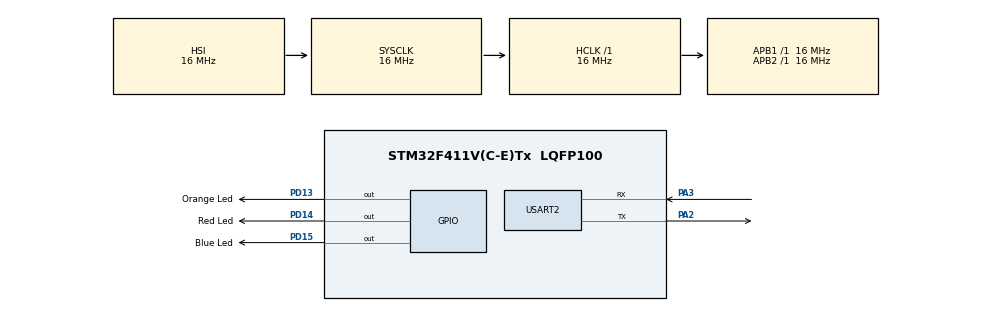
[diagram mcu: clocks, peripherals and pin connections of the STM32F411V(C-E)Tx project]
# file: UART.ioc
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Dma.Request0=USART2_RX
Dma.Request1=USART2_TX
Dma.USART2_RX.0.Direction=DMA_PERIPH_TO_MEMORY
Dma.USART2_RX.0.FIFOMode=DMA_FIFOMODE_DISABLE
Dma.USART2_RX.0.Instance=DMA1_Stream5
Dma.USART2_RX.0.MemDataAlignment=DMA_MDATAALIGN_BYTE
Dma.USART2_RX.0.MemInc=DMA_MINC_ENABLE
Dma.USART2_RX.0.Mode=DMA_NORMAL
Dma.USART2_RX.0.PeriphDataAlignment=DMA_PDATAALIGN_BYTE
Dma.USART2_RX.0.PeriphInc=DMA_PINC_DISABLE
Dma.USART2_RX.0.Priority=DMA_PRIORITY_LOW
Dma.USART2_TX.1.Direction=DMA_MEMORY_TO_PERIPH
Dma.USART2_TX.1.FIFOMode=DMA_FIFOMODE_DISABLE
Dma.USART2_TX.1.Instance=DMA1_Stream6
Dma.USART2_TX.1.MemDataAlignment=DMA_MDATAALIGN_BYTE
Dma.USART2_TX.1.MemInc=DMA_MINC_ENABLE
Dma.USART2_TX.1.Mode=DMA_NORMAL
Dma.USART2_TX.1.PeriphDataAlignment=DMA_PDATAALIGN_BYTE
Dma.USART2_TX.1.PeriphInc=DMA_PINC_DISABLE
Dma.USART2_TX.1.Priority=DMA_PRIORITY_LOW
Mcu.Family=STM32F4
Mcu.Name=STM32F411V(C-E)Tx
Mcu.Package=LQFP100
NVIC.DMA1_Stream5_IRQn=true\:0\:0\:false\:false\:true\:false
NVIC.DMA1_Stream6_IRQn=true\:0\:0\:false\:false\:true\:false
NVIC.PriorityGroup=NVIC_PRIORITYGROUP_4
NVIC.USART2_IRQn=true\:0\:0\:false\:false\:true\:true
PA2.Mode=Asynchronous
PA2.Signal=USART2_TX
PA3.Mode=Asynchronous
PA3.Signal=USART2_RX
PD13.GPIO_Label=Orange Led
PD13.GPIO_Speed=GPIO_SPEED_FREQ_VERY_HIGH
PD13.Signal=GPIO_Output
PD14.GPIO_Label=Red Led
PD14.GPIO_Speed=GPIO_SPEED_FREQ_VERY_HIGH
PD14.Signal=GPIO_Output
PD15.GPIO_Label=Blue Led
PD15.GPIO_Speed=GPIO_SPEED_FREQ_VERY_HIGH
PD15.Signal=GPIO_Output
ProjectManager.HeapSize=0x200
ProjectManager.StackSize=0x400
ProjectManager.TargetToolchain=MDK-ARM V5
RCC.AHBFreq_Value=16000000
RCC.APB1Freq_Value=16000000
RCC.APB2Freq_Value=16000000
RCC.CortexFreq_Value=16000000
RCC.HSE_VALUE=25000000
RCC.HSI_VALUE=16000000
RCC.LSE_VALUE=32768
RCC.SYSCLKFreq_VALUE=16000000
RCC.VCOOutputFreq_Value=192000000
USART2.VirtualMode=VM_ASYNC
board=custom

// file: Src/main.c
/**
  ******************************************************************************
  * @file           : main.c
  * @brief          : Main program body
  ******************************************************************************
  ** This notice applies to any and all portions of this file
  * that are not between comment pairs USER CODE BEGIN and
  * USER CODE END. Other portions of this file, whether
  * inserted by the user or by software development tools
  * are owned by their respective copyright owners.
  *
  * COPYRIGHT(c) 2018 STMicroelectronics
  *
  * Redistribution and use in source and binary forms, with or without modification,
  * are permitted provided that the following conditions are met:
  *   1. Redistributions of source code must retain the above copyright notice,
  *      this list of conditions and the following disclaimer.
  *   2. Redistributions in binary form must reproduce the above copyright notice,
  *      this list of conditions and the following disclaimer in the documentation
  *      and/or other materials provided with the distribution.
  *   3. Neither the name of STMicroelectronics nor the names of its contributors
  *      may be used to endorse or promote products derived from this software
  *      without specific prior written permission.
  *
  * THIS SOFTWARE IS PROVIDED BY THE COPYRIGHT HOLDERS AND CONTRIBUTORS "AS IS"
  * AND ANY EXPRESS OR IMPLIED WARRANTIES, INCLUDING, BUT NOT LIMITED TO, THE
  * IMPLIED WARRANTIES OF MERCHANTABILITY AND FITNESS FOR A PARTICULAR PURPOSE ARE
  * DISCLAIMED. IN NO EVENT SHALL THE COPYRIGHT HOLDER OR CONTRIBUTORS BE LIABLE
  * FOR ANY DIRECT, INDIRECT, INCIDENTAL, SPECIAL, EXEMPLARY, OR CONSEQUENTIAL
  * DAMAGES (INCLUDING, BUT NOT LIMITED TO, PROCUREMENT OF SUBSTITUTE GOODS OR
  * SERVICES; LOSS OF USE, DATA, OR PROFITS; OR BUSINESS INTERRUPTION) HOWEVER
  * CAUSED AND ON ANY THEORY OF LIABILITY, WHETHER IN CONTRACT, STRICT LIABILITY,
  * OR TORT (INCLUDING NEGLIGENCE OR OTHERWISE) ARISING IN ANY WAY OUT OF THE USE
  * OF THIS SOFTWARE, EVEN IF ADVISED OF THE POSSIBILITY OF SUCH DAMAGE.
  *
  ******************************************************************************
  */
#include "main.h"
#include "stm32f4xx_hal.h"

/* USER CODE BEGIN Includes */
#include <string.h>
/* USER CODE END Includes */

UART_HandleTypeDef huart2;
DMA_HandleTypeDef hdma_usart2_rx;
DMA_HandleTypeDef hdma_usart2_tx;

/* USER CODE BEGIN PV */
/* Private variables ---------------------------------------------------------*/
#define BUFFERSIZE	128
uint8_t Txbuffer[BUFFERSIZE];
uint8_t Rxbuffer[BUFFERSIZE];

uint8_t RxData[2], RxIndx, TxCplt;
/* USER CODE END PV */

void SystemClock_Config(void);
static void MX_GPIO_Init(void);
static void MX_DMA_Init(void);
static void MX_USART2_UART_Init(void);

/* USER CODE BEGIN PFP */
/* Private function prototypes -----------------------------------------------*/

/* USER CODE END PFP */

int main(void)
{

  /* MCU Configuration----------------------------------------------------------*/

  /* Reset of all peripherals, Initializes the Flash interface and the Systick. */
  HAL_Init();

  /* Configure the system clock */
  SystemClock_Config();

  /* Initialize all configured peripherals */
  MX_GPIO_Init();
  MX_DMA_Init();
  MX_USART2_UART_Init();
  /* USER CODE BEGIN 2 */
	if(HAL_UART_Receive_DMA(&huart2, RxData, 1) != HAL_OK)
	{
		Error_Handler();
	}
  /* USER CODE END 2 */

  /* Infinite loop */
  while (1)
  {

  /* USER CODE BEGIN 3 */
		if(TxCplt)
		{
			sprintf((char *)Txbuffer,"%s\r\n",Rxbuffer);
			if(HAL_UART_Transmit_DMA(&huart2, Txbuffer, strlen((const char *)Txbuffer)) != HAL_OK)
			{
				Error_Handler();
			}
			TxCplt = 0;
			HAL_Delay(1000);
		}
  /* USER CODE END 3 */
	}
}

void SystemClock_Config(void)
{

  RCC_OscInitTypeDef RCC_OscInitStruct;
  RCC_ClkInitTypeDef RCC_ClkInitStruct;

    /**Configure the main internal regulator output voltage
    */
  __HAL_RCC_PWR_CLK_ENABLE();

  __HAL_PWR_VOLTAGESCALING_CONFIG(PWR_REGULATOR_VOLTAGE_SCALE1);

    /**Initializes the CPU, AHB and APB busses clocks
    */
  RCC_OscInitStruct.OscillatorType = RCC_OSCILLATORTYPE_HSI;
  RCC_OscInitStruct.HSIState = RCC_HSI_ON;
  RCC_OscInitStruct.HSICalibrationValue = 16;
  RCC_OscInitStruct.PLL.PLLState = RCC_PLL_NONE;
  if (HAL_RCC_OscConfig(&RCC_OscInitStruct) != HAL_OK)
  {
    _Error_Handler(__FILE__, __LINE__);
  }

    /**Initializes the CPU, AHB and APB busses clocks
    */
  RCC_ClkInitStruct.ClockType = RCC_CLOCKTYPE_HCLK|RCC_CLOCKTYPE_SYSCLK
                              |RCC_CLOCKTYPE_PCLK1|RCC_CLOCKTYPE_PCLK2;
  RCC_ClkInitStruct.SYSCLKSource = RCC_SYSCLKSOURCE_HSI;
  RCC_ClkInitStruct.AHBCLKDivider = RCC_SYSCLK_DIV1;
  RCC_ClkInitStruct.APB1CLKDivider = RCC_HCLK_DIV1;
  RCC_ClkInitStruct.APB2CLKDivider = RCC_HCLK_DIV1;

  if (HAL_RCC_ClockConfig(&RCC_ClkInitStruct, FLASH_LATENCY_0) != HAL_OK)
  {
    _Error_Handler(__FILE__, __LINE__);
  }

    /**Configure the Systick interrupt time
    */
  HAL_SYSTICK_Config(HAL_RCC_GetHCLKFreq()/1000);

    /**Configure the Systick
    */
  HAL_SYSTICK_CLKSourceConfig(SYSTICK_CLKSOURCE_HCLK);

  /* SysTick_IRQn interrupt configuration */
  HAL_NVIC_SetPriority(SysTick_IRQn, 0, 0);
}

/* USART2 init function */
static void MX_USART2_UART_Init(void)
{

  huart2.Instance = USART2;
  huart2.Init.BaudRate = 115200;
  huart2.Init.WordLength = UART_WORDLENGTH_8B;
  huart2.Init.StopBits = UART_STOPBITS_1;
  huart2.Init.Parity = UART_PARITY_NONE;
  huart2.Init.Mode = UART_MODE_TX_RX;
  huart2.Init.HwFlowCtl = UART_HWCONTROL_NONE;
  huart2.Init.OverSampling = UART_OVERSAMPLING_16;
  if (HAL_UART_Init(&huart2) != HAL_OK)
  {
    _Error_Handler(__FILE__, __LINE__);
  }

}

static void MX_DMA_Init(void)
{
  /* DMA controller clock enable */
  __HAL_RCC_DMA1_CLK_ENABLE();

  /* DMA interrupt init */
  /* DMA1_Stream5_IRQn interrupt configuration */
  HAL_NVIC_SetPriority(DMA1_Stream5_IRQn, 0, 0);
  HAL_NVIC_EnableIRQ(DMA1_Stream5_IRQn);
  /* DMA1_Stream6_IRQn interrupt configuration */
  HAL_NVIC_SetPriority(DMA1_Stream6_IRQn, 0, 0);
  HAL_NVIC_EnableIRQ(DMA1_Stream6_IRQn);

}

/** Configure pins as
        * Analog
        * Input
        * Output
        * EVENT_OUT
        * EXTI
*/
static void MX_GPIO_Init(void)
{

  GPIO_InitTypeDef GPIO_InitStruct;

  /* GPIO Ports Clock Enable */
  __HAL_RCC_GPIOA_CLK_ENABLE();
  __HAL_RCC_GPIOD_CLK_ENABLE();

  /*Configure GPIO pin Output Level */
  HAL_GPIO_WritePin(GPIOD, Orange_Led_Pin|Red_Led_Pin|Blue_Led_Pin, GPIO_PIN_RESET);

  /*Configure GPIO pins : Orange_Led_Pin Red_Led_Pin Blue_Led_Pin */
  GPIO_InitStruct.Pin = Orange_Led_Pin|Red_Led_Pin|Blue_Led_Pin;
  GPIO_InitStruct.Mode = GPIO_MODE_OUTPUT_PP;
  GPIO_InitStruct.Pull = GPIO_NOPULL;
  GPIO_InitStruct.Speed = GPIO_SPEED_FREQ_VERY_HIGH;
  HAL_GPIO_Init(GPIOD, &GPIO_InitStruct);

}

/* USER CODE BEGIN 4 */
void HAL_UART_RxCpltCallback(UART_HandleTypeDef *huart)
{
	if(huart->Instance == USART2)
	{
		HAL_GPIO_TogglePin(GPIOD, Blue_Led_Pin);
		if(RxIndx == 0)
		{
			memset(Rxbuffer, 0 , BUFFERSIZE);
		}
		if(RxData[0] != 13)
		{
			Rxbuffer[RxIndx++] = RxData[0];
		}
		else
		{
			RxIndx = 0;
			TxCplt = 1;
		}

		if(HAL_UART_Receive_DMA(&huart2, RxData, 1) != HAL_OK)
		{
			Error_Handler();
		}
	}
	return;
}
void HAL_UART_TxCpltCallback(UART_HandleTypeDef *huart)
{
	if(huart->Instance == USART2)
	{
		HAL_GPIO_TogglePin(GPIOD, Orange_Led_Pin);
	}
	return;
}
/* USER CODE END 4 */

void _Error_Handler(char *file, int line)
{
  /* USER CODE BEGIN Error_Handler_Debug */
  /* User can add his own implementation to report the HAL error return state */
	HAL_GPIO_WritePin(GPIOD, Red_Led_Pin, GPIO_PIN_SET);
  while(1)
  {
  }
  /* USER CODE END Error_Handler_Debug */
}

/************************ (C) COPYRIGHT STMicroelectronics *****END OF FILE****/
